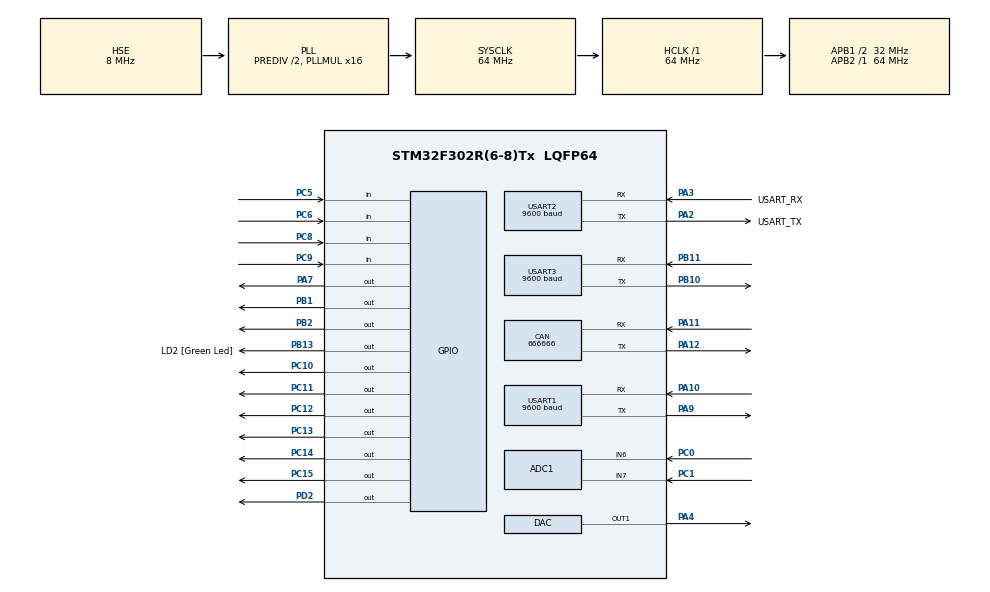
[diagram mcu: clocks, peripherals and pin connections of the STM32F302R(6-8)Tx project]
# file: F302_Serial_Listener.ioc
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Mcu.Family=STM32F3
NVIC.USART3_IRQn=true\:0\:0\:false\:false\:true\:true\:true
PA2.GPIO_PuPd=GPIO_NOPULL
RCC.CortexFreq_Value=64000000
PB10.Mode=Asynchronous
USART1.BaudRate=9600
PC10.Signal=GPIO_Output
PC12.Signal=GPIO_Output
PA14.GPIO_Label=TCK
ADC1.SamplingTimeOPAMP-1\#ChannelRegularConversion=ADC_SAMPLETIME_61CYCLES_5
RCC.SYSCLKSourceVirtual=RCC_SYSCLKSOURCE_PLLCLK
PA3.GPIO_PuPd=GPIO_NOPULL
PA2.GPIO_Speed=GPIO_SPEED_FREQ_LOW
PA11.Mode=CAN_Activate
PB13.GPIO_Label=LD2 [Green Led]
PA3.GPIO_Speed=GPIO_SPEED_FREQ_LOW
PB11.Signal=USART3_RX
PB13.Signal=GPIO_Output
ProjectManager.StackSize=0x400
USART3.VirtualMode-Asynchronous=VM_ASYNC
PA12.Signal=CAN_TX
USART3.BaudRate=9600
ADC1.Offset-0\#ChannelRegularConversion=0
RCC.HCLKFreq_Value=64000000
ADC1.Offset-1\#ChannelRegularConversion=0
RCC.APB2TimFreq_Value=64000000
RCC.AHBFreq_Value=64000000
PC15\ -\ OSC32_OUT.Signal=GPIO_Output
ADC1.Channel-0\#ChannelRegularConversion=ADC_CHANNEL_6
RCC.HSE_VALUE=8000000
PB2.Signal=GPIO_Output
USART2.VirtualMode-Asynchronous=VM_ASYNC
RCC.RCC_PLLsource_Clock_Source_FROM_HSE=RCC_HSE_PREDIV_DIV2
RCC.PLLMUL=RCC_PLL_MUL16
PA14.Mode=Serial_Wire
DAC.DAC_OutputBuffer=DAC_OUTPUTBUFFER_DISABLE
CAN.CalculateTimeQuantum=500.0
ADC1.SamplingTime-0\#ChannelRegularConversion=ADC_SAMPLETIME_1CYCLE_5
Mcu.Package=LQFP64
PB1.Signal=GPIO_Output
PA2.GPIO_Label=USART_TX
PA10.Signal=USART1_RX
ADC1.OffsetNumber-1\#ChannelRegularConversion=ADC_OFFSET_NONE
PC6.GPIO_PuPd=GPIO_PULLUP
RCC.APB1TimFreq_Value=64000000
PC5.Signal=GPIO_Input
NVIC.USART1_IRQn=true\:0\:0\:false\:false\:true\:true\:true
PF1-OSC_OUT.Signal=RCC_OSC_OUT
PA3.Signal=USART2_RX
PA2.GPIO_Mode=GPIO_MODE_AF_PP
RCC.PLLSourceVirtual=RCC_PLLSOURCE_HSE
SH.COMP_DAC1_group.0=DAC_OUT1,DAC_OUT1
ADC1.Rank-0\#ChannelRegularConversion=1
PA10.Mode=Asynchronous
SH.ADCx_IN6.0=ADC1_IN6,IN6-Single-Ended
ADC1.OffsetNumber-0\#ChannelRegularConversion=ADC_OFFSET_NONE
CAN.CalculateBaudRate=666666
PC11.Signal=GPIO_Output
PC13.Signal=GPIO_Output
PC8.Signal=GPIO_Input
PC6.Signal=GPIO_Input
PC0.Signal=ADCx_IN6
RCC.APB1CLKDivider=RCC_HCLK_DIV2
PC5.GPIO_PuPd=GPIO_PULLUP
NVIC.USART2_IRQn=true\:0\:0\:false\:false\:true\:true\:true
USART2.BaudRate=9600
CAN.CalculateTimeBit=1500.00
USART1.VirtualMode-Asynchronous=VM_ASYNC
PA13.Signal=SYS_JTMS-SWDIO
PA3.Mode=Asynchronous
PA9.Mode=Asynchronous
PB11.Mode=Asynchronous
ProjectManager.TargetToolchain=STM32CubeIDE
SH.ADCx_IN7.0=ADC1_IN7,IN7-Single-Ended
PA3.GPIO_Mode=GPIO_MODE_AF_PP
PA9.Signal=USART1_TX
ADC1.Channel-1\#ChannelRegularConversion=ADC_CHANNEL_7
RCC.USBFreq_Value=64000000
RCC.LSE_VALUE=32768
PF0-OSC_IN.Mode=HSE-External-Clock-Source
PB10.Signal=USART3_TX
PA5.Signal=S_TIM2_CH1_ETR
board=NUCLEO-F302R8
RCC.APB2Freq_Value=64000000
PC9.GPIO_PuPd=GPIO_PULLUP
ADC1.NbrOfConversion=2
PA13.Mode=Serial_Wire
Mcu.Name=STM32F302R(6-8)Tx
PA2.Signal=USART2_TX
PA13.GPIO_Label=TMS
PC8.GPIO_PuPd=GPIO_PULLUP
PA4.Signal=COMP_DAC1_group
ADC1.SamplingTime-1\#ChannelRegularConversion=ADC_SAMPLETIME_1CYCLE_5
RCC.SYSCLKFreq_VALUE=64000000
ADC1.master=1
PA12.Mode=CAN_Activate
ADC1.Rank-1\#ChannelRegularConversion=2
PA11.Signal=CAN_RX
SH.S_TIM2_CH1_ETR.0=TIM2_CH1
PA14.Signal=SYS_JTCK-SWCLK
ProjectManager.HeapSize=0x200
RCC.HSI_VALUE=8000000
RCC.PLLP=RCC_PLLP_DIV4
RCC.PLLQ=7
NVIC.PriorityGroup=NVIC_PRIORITYGROUP_0
ADC1.NbrOfConversionFlag=1
RCC.PLLM=8
RCC.PLLN=336
PA2.Mode=Asynchronous
PC9.Signal=GPIO_Input
PF0-OSC_IN.Signal=RCC_OSC_IN
PD2.Signal=GPIO_Output
RCC.APB1Freq_Value=32000000
PC1.Signal=ADCx_IN7
PA3.GPIO_Label=USART_RX
PA7.Signal=GPIO_Output
PC14\ -\ OSC32_IN.Signal=GPIO_Output

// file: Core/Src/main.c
/* USER CODE BEGIN Header */
/**
  ******************************************************************************
  * @file           : main.c
  * @brief          : Main program body
  ******************************************************************************
  * @attention
  *
  * <h2><center>&copy; Copyright (c) 2021 STMicroelectronics.
  * All rights reserved.</center></h2>
  *
  * This software component is licensed by ST under BSD 3-Clause license,
  * the "License"; You may not use this file except in compliance with the
  * License. You may obtain a copy of the License at:
  *                        opensource.org/licenses/BSD-3-Clause
  *
  ******************************************************************************
  */
/* USER CODE END Header */
#include "main.h"

/* USER CODE BEGIN Includes */

#include <stm32f3xx.h>
#include "GPIO_Task.h"
#include "Timer_Task.h"
#include "UART_Task.h"
#include "Buzzer_Task.h"
#include "Speed_Task.h"
#include "Battery_Task.h"

/* USER CODE END Includes */

ADC_HandleTypeDef hadc1;

CAN_HandleTypeDef hcan;

DAC_HandleTypeDef hdac;

UART_HandleTypeDef huart1;
UART_HandleTypeDef huart2;
UART_HandleTypeDef huart3;

void SystemClock_Config(void);
static void MX_GPIO_Init(void);
static void MX_USART2_UART_Init(void);
static void MX_USART1_UART_Init(void);
static void MX_USART3_UART_Init(void);
static void MX_CAN_Init(void);
static void MX_DAC_Init(void);
static void MX_ADC1_Init(void);

int main(void)
{

  /* MCU Configuration--------------------------------------------------------*/

  /* Reset of all peripherals, Initializes the Flash interface and the Systick. */
  HAL_Init();

  /* Configure the system clock */
  SystemClock_Config();

  /* Initialize all configured peripherals */
  MX_GPIO_Init();
  MX_USART2_UART_Init();
  MX_USART1_UART_Init();
  MX_USART3_UART_Init();
  MX_CAN_Init();
  MX_DAC_Init();
  MX_ADC1_Init();
  /* USER CODE BEGIN 2 */

  Speed_Init();

  //
  GPIO_UART1_485_RE();
  GPIO_UART3_485_RE();

  //
  GPIO_LED1_Off();
  GPIO_LED2_Off();
  GPIO_LED3_Off();
  GPIO_LED4_Off();

  //
  uart1_tx_cnt = 0;
  uart2_tx_cnt = 0;
  uart3_tx_cnt = 0;

  //
  uart1_flag = 0x00;
  uart2_flag = 0x00;
  uart3_flag = 0x00;

  Buzzer_Init();

  /* USER CODE END 2 */

  /* Infinite loop */
  while (1)
  {

    /* USER CODE BEGIN 3 */

	  // Timer tick, loop task.
	  Timer_Tick();

	  // UART #1 transmit task.
	  //UART1_Trn_Task();
	  // UART #3 transmit task.
	  //UART3_Trn_Task();
	  // UART #2 transmit task.
	  UART2_Trn_Task();

	  // UART #2 received task.
	  UART2_Rec_Task();

	  // Button task.
	  GPIO_Btn_Task();

	  // speed value update.
	  Speed_Calculate();
	  // speed update output.
	  Speed_Update_Output();

	  //
	  Battery_Check();
	  //
	  Battery_Update_Output();

  }
  /* USER CODE END 3 */
}

void SystemClock_Config(void)
{
  RCC_OscInitTypeDef RCC_OscInitStruct = {0};
  RCC_ClkInitTypeDef RCC_ClkInitStruct = {0};
  RCC_PeriphCLKInitTypeDef PeriphClkInit = {0};

  /** Initializes the RCC Oscillators according to the specified parameters
  * in the RCC_OscInitTypeDef structure.
  */
  RCC_OscInitStruct.OscillatorType = RCC_OSCILLATORTYPE_HSE;
  RCC_OscInitStruct.HSEState = RCC_HSE_BYPASS;
  RCC_OscInitStruct.HSEPredivValue = RCC_HSE_PREDIV_DIV2;
  RCC_OscInitStruct.HSIState = RCC_HSI_ON;
  RCC_OscInitStruct.PLL.PLLState = RCC_PLL_ON;
  RCC_OscInitStruct.PLL.PLLSource = RCC_PLLSOURCE_HSE;
  RCC_OscInitStruct.PLL.PLLMUL = RCC_PLL_MUL16;
  if (HAL_RCC_OscConfig(&RCC_OscInitStruct) != HAL_OK)
  {
    Error_Handler();
  }
  /** Initializes the CPU, AHB and APB buses clocks
  */
  RCC_ClkInitStruct.ClockType = RCC_CLOCKTYPE_HCLK|RCC_CLOCKTYPE_SYSCLK
                              |RCC_CLOCKTYPE_PCLK1|RCC_CLOCKTYPE_PCLK2;
  RCC_ClkInitStruct.SYSCLKSource = RCC_SYSCLKSOURCE_PLLCLK;
  RCC_ClkInitStruct.AHBCLKDivider = RCC_SYSCLK_DIV1;
  RCC_ClkInitStruct.APB1CLKDivider = RCC_HCLK_DIV2;
  RCC_ClkInitStruct.APB2CLKDivider = RCC_HCLK_DIV1;

  if (HAL_RCC_ClockConfig(&RCC_ClkInitStruct, FLASH_LATENCY_2) != HAL_OK)
  {
    Error_Handler();
  }
  PeriphClkInit.PeriphClockSelection = RCC_PERIPHCLK_USART1|RCC_PERIPHCLK_ADC1;
  PeriphClkInit.Usart1ClockSelection = RCC_USART1CLKSOURCE_PCLK1;
  PeriphClkInit.Adc1ClockSelection = RCC_ADC1PLLCLK_DIV1;

  if (HAL_RCCEx_PeriphCLKConfig(&PeriphClkInit) != HAL_OK)
  {
    Error_Handler();
  }
}

static void MX_ADC1_Init(void)
{

  ADC_ChannelConfTypeDef sConfig = {0};

  /* USER CODE BEGIN ADC1_Init 1 */

  // Peripheral clock enable.
  __HAL_RCC_ADC1_CLK_ENABLE();

  /* USER CODE END ADC1_Init 1 */
  /** Common config
  */
  hadc1.Instance = ADC1;
  hadc1.Init.ClockPrescaler = ADC_CLOCK_ASYNC_DIV1;
  hadc1.Init.Resolution = ADC_RESOLUTION_12B;
  hadc1.Init.ScanConvMode = ADC_SCAN_ENABLE;
  hadc1.Init.ContinuousConvMode = DISABLE;
  hadc1.Init.DiscontinuousConvMode = DISABLE;
  hadc1.Init.ExternalTrigConvEdge = ADC_EXTERNALTRIGCONVEDGE_NONE;
  hadc1.Init.ExternalTrigConv = ADC_SOFTWARE_START;
  hadc1.Init.DataAlign = ADC_DATAALIGN_RIGHT;
  hadc1.Init.NbrOfConversion = 2;
  hadc1.Init.DMAContinuousRequests = DISABLE;
  hadc1.Init.EOCSelection = ADC_EOC_SINGLE_CONV;
  hadc1.Init.LowPowerAutoWait = DISABLE;
  hadc1.Init.Overrun = ADC_OVR_DATA_OVERWRITTEN;
  if (HAL_ADC_Init(&hadc1) != HAL_OK)
  {
    Error_Handler();
  }
  /** Configure Regular Channel
  */
  sConfig.Channel = ADC_CHANNEL_6;
  sConfig.Rank = ADC_REGULAR_RANK_1;
  sConfig.SingleDiff = ADC_SINGLE_ENDED;
  sConfig.SamplingTime = ADC_SAMPLETIME_1CYCLE_5;
  sConfig.OffsetNumber = ADC_OFFSET_NONE;
  sConfig.Offset = 0;
  if (HAL_ADC_ConfigChannel(&hadc1, &sConfig) != HAL_OK)
  {
    Error_Handler();
  }
  /** Configure Regular Channel
  */
  sConfig.Channel = ADC_CHANNEL_7;
  sConfig.Rank = ADC_REGULAR_RANK_2;
  if (HAL_ADC_ConfigChannel(&hadc1, &sConfig) != HAL_OK)
  {
    Error_Handler();
  }
  /* USER CODE BEGIN ADC1_Init 2 */

  // Enable.
  ADC1->CR |= 0x00000001;

  /* USER CODE END ADC1_Init 2 */

}

static void MX_CAN_Init(void)
{

  hcan.Instance = CAN;
  hcan.Init.Prescaler = 16;
  hcan.Init.Mode = CAN_MODE_NORMAL;
  hcan.Init.SyncJumpWidth = CAN_SJW_1TQ;
  hcan.Init.TimeSeg1 = CAN_BS1_1TQ;
  hcan.Init.TimeSeg2 = CAN_BS2_1TQ;
  hcan.Init.TimeTriggeredMode = DISABLE;
  hcan.Init.AutoBusOff = DISABLE;
  hcan.Init.AutoWakeUp = DISABLE;
  hcan.Init.AutoRetransmission = DISABLE;
  hcan.Init.ReceiveFifoLocked = DISABLE;
  hcan.Init.TransmitFifoPriority = DISABLE;
  if (HAL_CAN_Init(&hcan) != HAL_OK)
  {
    Error_Handler();
  }

}

static void MX_DAC_Init(void)
{

  /* USER CODE BEGIN DAC_Init 0 */

  // Enable clock.
  __HAL_RCC_DAC1_CLK_ENABLE();

  /* USER CODE END DAC_Init 0 */

  DAC_ChannelConfTypeDef sConfig = {0};

  /** DAC Initialization
  */
  hdac.Instance = DAC;
  if (HAL_DAC_Init(&hdac) != HAL_OK)
  {
    Error_Handler();
  }
  /** DAC channel OUT1 config
  */
  sConfig.DAC_Trigger = DAC_TRIGGER_NONE;
  sConfig.DAC_OutputBuffer = DAC_OUTPUTBUFFER_DISABLE;
  if (HAL_DAC_ConfigChannel(&hdac, &sConfig, DAC_CHANNEL_1) != HAL_OK)
  {
    Error_Handler();
  }
  /* USER CODE BEGIN DAC_Init 2 */

  // Enable.
  DAC->CR |= 0x00000001;

  /* USER CODE END DAC_Init 2 */

}

static void MX_USART1_UART_Init(void)
{

  /* USER CODE BEGIN USART1_Init 0 */

	__HAL_RCC_USART1_CLK_ENABLE();

  /* USER CODE END USART1_Init 0 */

  huart1.Instance = USART1;
  huart1.Init.BaudRate = 9600;
  huart1.Init.WordLength = UART_WORDLENGTH_8B;
  huart1.Init.StopBits = UART_STOPBITS_1;
  huart1.Init.Parity = UART_PARITY_NONE;
  huart1.Init.Mode = UART_MODE_TX_RX;
  huart1.Init.HwFlowCtl = UART_HWCONTROL_NONE;
  huart1.Init.OverSampling = UART_OVERSAMPLING_16;
  huart1.Init.OneBitSampling = UART_ONE_BIT_SAMPLE_DISABLE;
  huart1.AdvancedInit.AdvFeatureInit = UART_ADVFEATURE_NO_INIT;
  if (HAL_UART_Init(&huart1) != HAL_OK)
  {
    Error_Handler();
  }
  /* USER CODE BEGIN USART1_Init 2 */

  // Enable RXNE interrupt, bit #5.
  USART1->CR1 |= 0x20;
  // Enable IRQ.
  NVIC_EnableIRQ( USART1_IRQn );
  // Enable UART, bit #0.
  USART1->CR1 |= 0x01;

  /* USER CODE END USART1_Init 2 */

}

static void MX_USART2_UART_Init(void)
{

  /* USER CODE BEGIN USART2_Init 0 */

	__HAL_RCC_USART2_CLK_ENABLE();

  /* USER CODE END USART2_Init 0 */

  huart2.Instance = USART2;
  huart2.Init.BaudRate = 9600;
  huart2.Init.WordLength = UART_WORDLENGTH_8B;
  huart2.Init.StopBits = UART_STOPBITS_1;
  huart2.Init.Parity = UART_PARITY_NONE;
  huart2.Init.Mode = UART_MODE_TX_RX;
  huart2.Init.HwFlowCtl = UART_HWCONTROL_NONE;
  huart2.Init.OverSampling = UART_OVERSAMPLING_16;
  huart2.Init.OneBitSampling = UART_ONE_BIT_SAMPLE_DISABLE;
  huart2.AdvancedInit.AdvFeatureInit = UART_ADVFEATURE_NO_INIT;
  if (HAL_UART_Init(&huart2) != HAL_OK)
  {
    Error_Handler();
  }
  /* USER CODE BEGIN USART2_Init 2 */

  // Enable RXNE interrupt, bit #5.
  USART2->CR1 |= 0x20;
  // Enable IRQ.
  NVIC_EnableIRQ( USART2_IRQn );
  // Enable UART, bit #0.
  USART2->CR1 |= 0x01;

  /* USER CODE END USART2_Init 2 */

}

static void MX_USART3_UART_Init(void)
{

  /* USER CODE BEGIN USART3_Init 0 */

	__HAL_RCC_USART3_CLK_ENABLE();

  /* USER CODE END USART3_Init 0 */

  huart3.Instance = USART3;
  huart3.Init.BaudRate = 9600;
  huart3.Init.WordLength = UART_WORDLENGTH_8B;
  huart3.Init.StopBits = UART_STOPBITS_1;
  huart3.Init.Parity = UART_PARITY_NONE;
  huart3.Init.Mode = UART_MODE_TX_RX;
  huart3.Init.HwFlowCtl = UART_HWCONTROL_NONE;
  huart3.Init.OverSampling = UART_OVERSAMPLING_16;
  huart3.Init.OneBitSampling = UART_ONE_BIT_SAMPLE_DISABLE;
  huart3.AdvancedInit.AdvFeatureInit = UART_ADVFEATURE_NO_INIT;
  if (HAL_UART_Init(&huart3) != HAL_OK)
  {
    Error_Handler();
  }
  /* USER CODE BEGIN USART3_Init 2 */

  // Enable RXNE interrupt, bit #5.
  USART3->CR1 |= 0x20;
  // Enable IRQ.
  NVIC_EnableIRQ( USART3_IRQn );
  // Enable UART, bit #0.
  USART3->CR1 |= 0x01;

  /* USER CODE END USART3_Init 2 */

}

static void MX_GPIO_Init(void)
{
  GPIO_InitTypeDef GPIO_InitStruct = {0};

  /* GPIO Ports Clock Enable */
  __HAL_RCC_GPIOC_CLK_ENABLE();
  __HAL_RCC_GPIOF_CLK_ENABLE();
  __HAL_RCC_GPIOA_CLK_ENABLE();
  __HAL_RCC_GPIOB_CLK_ENABLE();
  __HAL_RCC_GPIOD_CLK_ENABLE();

  /*Configure GPIO pin Output Level */
  HAL_GPIO_WritePin(GPIOC, GPIO_PIN_13|GPIO_PIN_14|GPIO_PIN_15|GPIO_PIN_10
                          |GPIO_PIN_11|GPIO_PIN_12, GPIO_PIN_RESET);

  /*Configure GPIO pin Output Level */
  HAL_GPIO_WritePin(GPIOA, GPIO_PIN_7, GPIO_PIN_RESET);

  /*Configure GPIO pin Output Level */
  HAL_GPIO_WritePin(GPIOB, GPIO_PIN_1|GPIO_PIN_2|LD2_Pin, GPIO_PIN_RESET);

  /*Configure GPIO pin Output Level */
  HAL_GPIO_WritePin(GPIOD, GPIO_PIN_2, GPIO_PIN_RESET);

  /*Configure GPIO pins : PC13 PC14 PC15 PC10
                           PC11 PC12 */
  GPIO_InitStruct.Pin = GPIO_PIN_13|GPIO_PIN_14|GPIO_PIN_15|GPIO_PIN_10
                          |GPIO_PIN_11|GPIO_PIN_12;
  GPIO_InitStruct.Mode = GPIO_MODE_OUTPUT_PP;
  GPIO_InitStruct.Pull = GPIO_NOPULL;
  GPIO_InitStruct.Speed = GPIO_SPEED_FREQ_LOW;
  HAL_GPIO_Init(GPIOC, &GPIO_InitStruct);

  /*Configure GPIO pin : PA5 */
  GPIO_InitStruct.Pin = GPIO_PIN_5;
  GPIO_InitStruct.Mode = GPIO_MODE_AF_PP;
  GPIO_InitStruct.Pull = GPIO_NOPULL;
  GPIO_InitStruct.Speed = GPIO_SPEED_FREQ_LOW;
  GPIO_InitStruct.Alternate = GPIO_AF1_TIM2;
  HAL_GPIO_Init(GPIOA, &GPIO_InitStruct);

  /*Configure GPIO pin : PA7 */
  GPIO_InitStruct.Pin = GPIO_PIN_7;
  GPIO_InitStruct.Mode = GPIO_MODE_OUTPUT_PP;
  GPIO_InitStruct.Pull = GPIO_NOPULL;
  GPIO_InitStruct.Speed = GPIO_SPEED_FREQ_LOW;
  HAL_GPIO_Init(GPIOA, &GPIO_InitStruct);

  /*Configure GPIO pins : PC5 PC6 PC8 PC9 */
  GPIO_InitStruct.Pin = GPIO_PIN_5|GPIO_PIN_6|GPIO_PIN_8|GPIO_PIN_9;
  GPIO_InitStruct.Mode = GPIO_MODE_INPUT;
  GPIO_InitStruct.Pull = GPIO_PULLUP;
  HAL_GPIO_Init(GPIOC, &GPIO_InitStruct);

  /*Configure GPIO pins : PB1 PB2 LD2_Pin */
  GPIO_InitStruct.Pin = GPIO_PIN_1|GPIO_PIN_2|LD2_Pin;
  GPIO_InitStruct.Mode = GPIO_MODE_OUTPUT_PP;
  GPIO_InitStruct.Pull = GPIO_NOPULL;
  GPIO_InitStruct.Speed = GPIO_SPEED_FREQ_LOW;
  HAL_GPIO_Init(GPIOB, &GPIO_InitStruct);

  /*Configure GPIO pin : PD2 */
  GPIO_InitStruct.Pin = GPIO_PIN_2;
  GPIO_InitStruct.Mode = GPIO_MODE_OUTPUT_PP;
  GPIO_InitStruct.Pull = GPIO_NOPULL;
  GPIO_InitStruct.Speed = GPIO_SPEED_FREQ_LOW;
  HAL_GPIO_Init(GPIOD, &GPIO_InitStruct);

}

void Error_Handler(void)
{
  __disable_irq();
  while (1)
  {
  }
}

/************************ (C) COPYRIGHT STMicroelectronics *****END OF FILE****/
